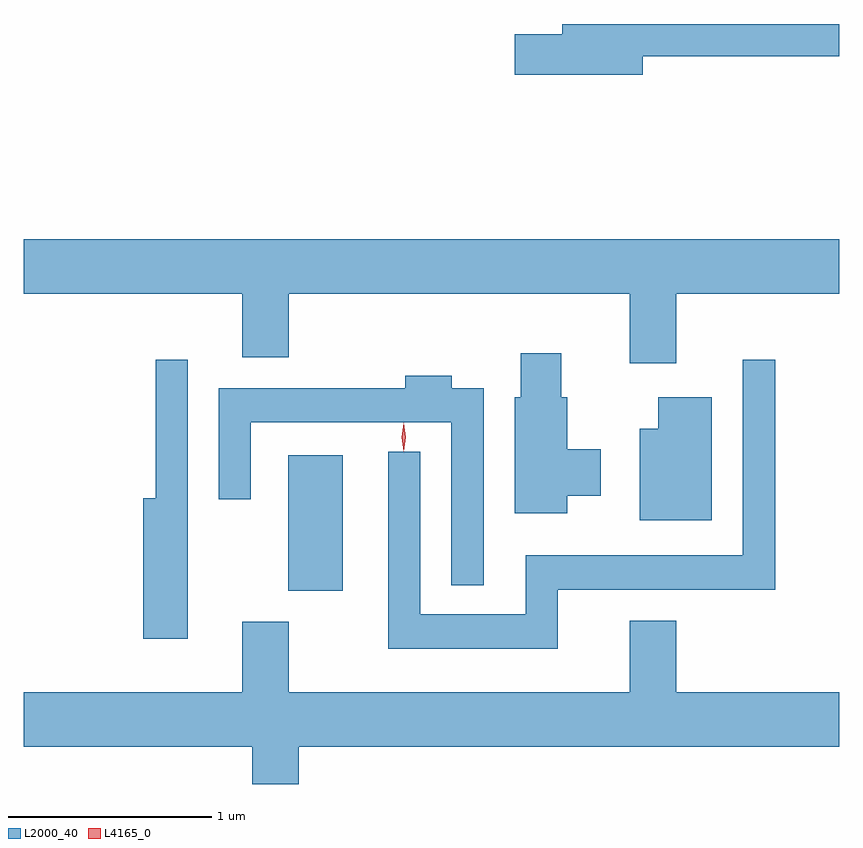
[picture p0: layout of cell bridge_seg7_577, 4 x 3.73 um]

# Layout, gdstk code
import gdstk
lib = gdstk.Library(unit=1e-6, precision=1e-09)
def R(c, l, rs):  # rectangles x0, y0, x1, y1
    for r in rs: c.add(gdstk.rectangle(r[:2], r[2:], *l))
def P(c, l, *ps):  # polygons
    for p in ps: c.add(gdstk.Polygon(p, *l))
L2000_40 = (2000, 40)
L4165_0 = (4165, 0)

bridge_seg7_577 = lib.new_cell('bridge_seg7_577')
R(bridge_seg7_577, L2000_40, [(631.516,1755.041,631.784,1755.704)])
P(bridge_seg7_577, L2000_40, [(633.254,1757.661),(634.219,1757.661),(634.219,1757.819),(632.861,1757.819),(632.861,1757.769),(632.626,1757.769),(632.626,1757.571),(633.254,1757.571)],
  [(633.419,1756.496),(634.219,1756.496),(634.219,1756.764),(630.219,1756.764),(630.219,1756.496),(631.291,1756.496),(631.291,1756.186),(631.519,1756.186),(631.519,1756.496),(633.191,1756.496),(633.191,1756.156),(633.419,1756.156)],
  [(632.884,1755.506),(633.049,1755.506),(633.049,1755.734),(632.884,1755.734),(632.884,1755.989),(632.854,1755.989),(632.854,1756.204),(632.656,1756.204),(632.656,1755.989),(632.626,1755.989),(632.626,1755.421),(632.884,1755.421)],
  [(631.024,1756.173),(630.866,1756.173),(630.866,1755.494),(630.806,1755.494),(630.806,1754.806),(631.024,1754.806)],
  [(632.839,1755.046),(633.904,1755.046),(633.904,1756.173),(633.746,1756.173),(633.746,1755.214),(632.681,1755.214),(632.681,1754.924),(632.164,1754.924),(632.164,1755.723),(632.006,1755.723),(632.006,1754.756),(632.839,1754.756)],
  [(632.474,1756.034),(632.319,1756.034),(632.319,1756.094),(632.091,1756.094),(632.091,1756.034),(631.176,1756.034),(631.176,1755.488),(631.334,1755.488),(631.334,1755.866),(632.316,1755.866),(632.316,1755.068),(632.474,1755.068)],
  [(633.594,1755.989),(633.331,1755.989),(633.331,1755.834),(633.241,1755.834),(633.241,1755.386),(633.594,1755.386)],
  [(631.569,1754.276),(634.219,1754.276),(634.219,1754.544),(633.419,1754.544),(633.419,1754.894),(633.191,1754.894),(633.191,1754.544),(631.519,1754.544),(631.519,1754.889),(631.291,1754.889),(631.291,1754.544),(630.219,1754.544),(630.219,1754.276),(631.341,1754.276),(631.341,1754.093),(631.569,1754.093)])
P(bridge_seg7_577, L4165_0, [(632.083,1755.723),(632.082,1755.724),(632.073,1755.793),(632.082,1755.862),(632.083,1755.863),(632.083,1755.862),(632.093,1755.793),(632.083,1755.724)])

lib.write_gds('bridge_seg7_577.gds')
